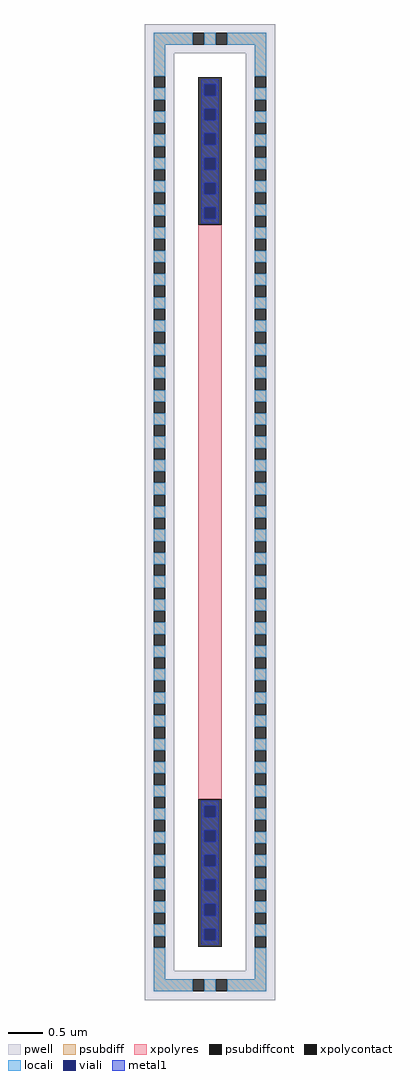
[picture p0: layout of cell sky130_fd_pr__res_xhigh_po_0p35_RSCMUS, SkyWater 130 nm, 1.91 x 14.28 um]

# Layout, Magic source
magic
tech sky130A
magscale 1 2
<< pwell >>
rect -191 1342 191 1428
rect -191 -1342 -105 1342
rect 105 -1342 191 1342
rect -191 -1428 191 -1342
<< psubdiff >>
rect -165 1368 -51 1402
rect -17 1368 17 1402
rect 51 1368 165 1402
rect -165 1275 -131 1368
rect 131 1275 165 1368
rect -165 1207 -131 1241
rect -165 1139 -131 1173
rect -165 1071 -131 1105
rect -165 1003 -131 1037
rect -165 935 -131 969
rect -165 867 -131 901
rect -165 799 -131 833
rect -165 731 -131 765
rect -165 663 -131 697
rect -165 595 -131 629
rect -165 527 -131 561
rect -165 459 -131 493
rect -165 391 -131 425
rect -165 323 -131 357
rect -165 255 -131 289
rect -165 187 -131 221
rect -165 119 -131 153
rect -165 51 -131 85
rect -165 -17 -131 17
rect -165 -85 -131 -51
rect -165 -153 -131 -119
rect -165 -221 -131 -187
rect -165 -289 -131 -255
rect -165 -357 -131 -323
rect -165 -425 -131 -391
rect -165 -493 -131 -459
rect -165 -561 -131 -527
rect -165 -629 -131 -595
rect -165 -697 -131 -663
rect -165 -765 -131 -731
rect -165 -833 -131 -799
rect -165 -901 -131 -867
rect -165 -969 -131 -935
rect -165 -1037 -131 -1003
rect -165 -1105 -131 -1071
rect -165 -1173 -131 -1139
rect -165 -1241 -131 -1207
rect 131 1207 165 1241
rect 131 1139 165 1173
rect 131 1071 165 1105
rect 131 1003 165 1037
rect 131 935 165 969
rect 131 867 165 901
rect 131 799 165 833
rect 131 731 165 765
rect 131 663 165 697
rect 131 595 165 629
rect 131 527 165 561
rect 131 459 165 493
rect 131 391 165 425
rect 131 323 165 357
rect 131 255 165 289
rect 131 187 165 221
rect 131 119 165 153
rect 131 51 165 85
rect 131 -17 165 17
rect 131 -85 165 -51
rect 131 -153 165 -119
rect 131 -221 165 -187
rect 131 -289 165 -255
rect 131 -357 165 -323
rect 131 -425 165 -391
rect 131 -493 165 -459
rect 131 -561 165 -527
rect 131 -629 165 -595
rect 131 -697 165 -663
rect 131 -765 165 -731
rect 131 -833 165 -799
rect 131 -901 165 -867
rect 131 -969 165 -935
rect 131 -1037 165 -1003
rect 131 -1105 165 -1071
rect 131 -1173 165 -1139
rect 131 -1241 165 -1207
rect -165 -1368 -131 -1275
rect 131 -1368 165 -1275
rect -165 -1402 -51 -1368
rect -17 -1402 17 -1368
rect 51 -1402 165 -1368
<< psubdiffcont >>
rect -51 1368 -17 1402
rect 17 1368 51 1402
rect -165 1241 -131 1275
rect -165 1173 -131 1207
rect -165 1105 -131 1139
rect -165 1037 -131 1071
rect -165 969 -131 1003
rect -165 901 -131 935
rect -165 833 -131 867
rect -165 765 -131 799
rect -165 697 -131 731
rect -165 629 -131 663
rect -165 561 -131 595
rect -165 493 -131 527
rect -165 425 -131 459
rect -165 357 -131 391
rect -165 289 -131 323
rect -165 221 -131 255
rect -165 153 -131 187
rect -165 85 -131 119
rect -165 17 -131 51
rect -165 -51 -131 -17
rect -165 -119 -131 -85
rect -165 -187 -131 -153
rect -165 -255 -131 -221
rect -165 -323 -131 -289
rect -165 -391 -131 -357
rect -165 -459 -131 -425
rect -165 -527 -131 -493
rect -165 -595 -131 -561
rect -165 -663 -131 -629
rect -165 -731 -131 -697
rect -165 -799 -131 -765
rect -165 -867 -131 -833
rect -165 -935 -131 -901
rect -165 -1003 -131 -969
rect -165 -1071 -131 -1037
rect -165 -1139 -131 -1105
rect -165 -1207 -131 -1173
rect -165 -1275 -131 -1241
rect 131 1241 165 1275
rect 131 1173 165 1207
rect 131 1105 165 1139
rect 131 1037 165 1071
rect 131 969 165 1003
rect 131 901 165 935
rect 131 833 165 867
rect 131 765 165 799
rect 131 697 165 731
rect 131 629 165 663
rect 131 561 165 595
rect 131 493 165 527
rect 131 425 165 459
rect 131 357 165 391
rect 131 289 165 323
rect 131 221 165 255
rect 131 153 165 187
rect 131 85 165 119
rect 131 17 165 51
rect 131 -51 165 -17
rect 131 -119 165 -85
rect 131 -187 165 -153
rect 131 -255 165 -221
rect 131 -323 165 -289
rect 131 -391 165 -357
rect 131 -459 165 -425
rect 131 -527 165 -493
rect 131 -595 165 -561
rect 131 -663 165 -629
rect 131 -731 165 -697
rect 131 -799 165 -765
rect 131 -867 165 -833
rect 131 -935 165 -901
rect 131 -1003 165 -969
rect 131 -1071 165 -1037
rect 131 -1139 165 -1105
rect 131 -1207 165 -1173
rect 131 -1275 165 -1241
rect -51 -1402 -17 -1368
rect 17 -1402 51 -1368
<< xpolycontact >>
rect -35 840 35 1272
rect -35 -1272 35 -840
<< xpolyres >>
rect -35 -840 35 840
<< locali >>
rect -165 1368 -51 1402
rect -17 1368 17 1402
rect 51 1368 165 1402
rect -165 1275 -131 1368
rect 131 1275 165 1368
rect -165 1207 -131 1241
rect -165 1139 -131 1173
rect -165 1071 -131 1105
rect -165 1003 -131 1037
rect -165 935 -131 969
rect -165 867 -131 901
rect 131 1207 165 1241
rect 131 1139 165 1173
rect 131 1071 165 1105
rect 131 1003 165 1037
rect 131 935 165 969
rect 131 867 165 901
rect -165 799 -131 833
rect -165 731 -131 765
rect -165 663 -131 697
rect -165 595 -131 629
rect -165 527 -131 561
rect -165 459 -131 493
rect -165 391 -131 425
rect -165 323 -131 357
rect -165 255 -131 289
rect -165 187 -131 221
rect -165 119 -131 153
rect -165 51 -131 85
rect -165 -17 -131 17
rect -165 -85 -131 -51
rect -165 -153 -131 -119
rect -165 -221 -131 -187
rect -165 -289 -131 -255
rect -165 -357 -131 -323
rect -165 -425 -131 -391
rect -165 -493 -131 -459
rect -165 -561 -131 -527
rect -165 -629 -131 -595
rect -165 -697 -131 -663
rect -165 -765 -131 -731
rect -165 -833 -131 -799
rect 131 799 165 833
rect 131 731 165 765
rect 131 663 165 697
rect 131 595 165 629
rect 131 527 165 561
rect 131 459 165 493
rect 131 391 165 425
rect 131 323 165 357
rect 131 255 165 289
rect 131 187 165 221
rect 131 119 165 153
rect 131 51 165 85
rect 131 -17 165 17
rect 131 -85 165 -51
rect 131 -153 165 -119
rect 131 -221 165 -187
rect 131 -289 165 -255
rect 131 -357 165 -323
rect 131 -425 165 -391
rect 131 -493 165 -459
rect 131 -561 165 -527
rect 131 -629 165 -595
rect 131 -697 165 -663
rect 131 -765 165 -731
rect 131 -833 165 -799
rect -165 -901 -131 -867
rect -165 -969 -131 -935
rect -165 -1037 -131 -1003
rect -165 -1105 -131 -1071
rect -165 -1173 -131 -1139
rect -165 -1241 -131 -1207
rect 131 -901 165 -867
rect 131 -969 165 -935
rect 131 -1037 165 -1003
rect 131 -1105 165 -1071
rect 131 -1173 165 -1139
rect 131 -1241 165 -1207
rect -165 -1368 -131 -1275
rect 131 -1368 165 -1275
rect -165 -1402 -51 -1368
rect -17 -1402 17 -1368
rect 51 -1402 165 -1368
<< viali >>
rect -17 1218 17 1252
rect -17 1146 17 1180
rect -17 1074 17 1108
rect -17 1002 17 1036
rect -17 930 17 964
rect -17 858 17 892
rect -17 -893 17 -859
rect -17 -965 17 -931
rect -17 -1037 17 -1003
rect -17 -1109 17 -1075
rect -17 -1181 17 -1147
rect -17 -1253 17 -1219
<< metal1 >>
rect -25 1252 25 1266
rect -25 1218 -17 1252
rect 17 1218 25 1252
rect -25 1180 25 1218
rect -25 1146 -17 1180
rect 17 1146 25 1180
rect -25 1108 25 1146
rect -25 1074 -17 1108
rect 17 1074 25 1108
rect -25 1036 25 1074
rect -25 1002 -17 1036
rect 17 1002 25 1036
rect -25 964 25 1002
rect -25 930 -17 964
rect 17 930 25 964
rect -25 892 25 930
rect -25 858 -17 892
rect 17 858 25 892
rect -25 845 25 858
rect -25 -859 25 -845
rect -25 -893 -17 -859
rect 17 -893 25 -859
rect -25 -931 25 -893
rect -25 -965 -17 -931
rect 17 -965 25 -931
rect -25 -1003 25 -965
rect -25 -1037 -17 -1003
rect 17 -1037 25 -1003
rect -25 -1075 25 -1037
rect -25 -1109 -17 -1075
rect 17 -1109 25 -1075
rect -25 -1147 25 -1109
rect -25 -1181 -17 -1147
rect 17 -1181 25 -1147
rect -25 -1219 25 -1181
rect -25 -1253 -17 -1219
rect 17 -1253 25 -1219
rect -25 -1266 25 -1253
<< properties >>
string FIXED_BBOX -148 -1385 148 1385
<< end >>
